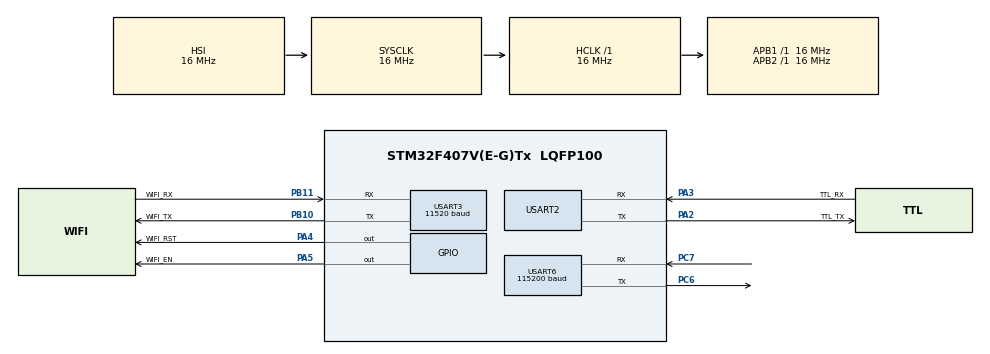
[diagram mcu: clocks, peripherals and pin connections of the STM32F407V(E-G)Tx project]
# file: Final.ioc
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Mcu.Family=STM32F4
Mcu.Name=STM32F407V(E-G)Tx
Mcu.Package=LQFP100
NVIC.PriorityGroup=NVIC_PRIORITYGROUP_4
NVIC.USART6_IRQn=true\:0\:0\:false\:false\:true\:true\:true\:true
PA2.GPIO_Label=TTL_TX
PA2.Mode=Asynchronous
PA2.Signal=USART2_TX
PA3.GPIO_Label=TTL_RX
PA3.Mode=Asynchronous
PA3.Signal=USART2_RX
PA4.GPIO_Label=WIFI_RST
PA4.Signal=GPIO_Output
PA5.GPIO_Label=WIFI_EN
PA5.Signal=GPIO_Output
PB10.GPIO_Label=WIFI_TX
PB10.Mode=Asynchronous
PB10.Signal=USART3_TX
PB11.GPIO_Label=WIFI_RX
PB11.Mode=Asynchronous
PB11.Signal=USART3_RX
PC6.Mode=Asynchronous
PC6.Signal=USART6_TX
PC7.Mode=Asynchronous
PC7.Signal=USART6_RX
ProjectManager.HeapSize=0x200
ProjectManager.StackSize=0x400
ProjectManager.TargetToolchain=STM32CubeIDE
RCC.AHBFreq_Value=16000000
RCC.APB1Freq_Value=16000000
RCC.APB2Freq_Value=16000000
RCC.CortexFreq_Value=16000000
RCC.HSE_VALUE=25000000
RCC.HSI_VALUE=16000000
RCC.LSE_VALUE=32768
RCC.SYSCLKFreq_VALUE=16000000
RCC.VCOOutputFreq_Value=192000000
USART2.VirtualMode=VM_ASYNC
USART3.BaudRate=11520
USART3.VirtualMode=VM_ASYNC
USART6.BaudRate=115200
USART6.VirtualMode=VM_ASYNC
board=custom

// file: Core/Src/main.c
/* USER CODE BEGIN Header */
/**
 ******************************************************************************
 * @file           : main.c
 * @brief          : Esp8266-01 Test-Function
 * Author          :
 * websites        :https://embeddedsystemshalilgk.wordpress.com
 * Youtube         :https://www.youtube.com/channel/UC8cJpAVnScqDzZ7IFs2tQMw
 ******************************************************************************
 * @attention
 *ESP_Init();this function should be called after testing. ESP_Init() can be called
 *this If hardware and software problems are not encountered.
 *test_AT();first, you must query with the test_AT command.
 *  USART2 -> PC
 *  USART3 ->ESP8266
 *We do the data retrieval part with interrupt.
 * Don't forget to activate the interrupt.
 ******************************************************************************
 */
/* USER CODE END Header */
#include "main.h"

/* USER CODE BEGIN Includes */
#include <string.h>
#include <stdio.h>
#include "FreeRTOS.h"
#include "task.h"
#include "myprintf.h"
/* USER CODE END Includes */

/* USER CODE BEGIN PTD */
typedef enum {
    STATE_RESET,
    STATE_INIT,
    STATE_JOIN_WIFI,
    STATE_CHECK_STATUS,
    STATE_GET_IP,
	STATE_CONNECT_TCP,
    STATE_DONE
} esp8266_state_t;

/* USER CODE END PTD */

/* USER CODE BEGIN PM */
#define resp_len 128
/* USER CODE END PM */

UART_HandleTypeDef huart2;
UART_HandleTypeDef huart3;
UART_HandleTypeDef huart6;

/* USER CODE BEGIN PV */
char resp[resp_len];
volatile int if_resp_callback;
volatile int if_resp_timeout;
volatile int resp_index;
/* USER CODE END PV */

void SystemClock_Config(void);
static void MX_GPIO_Init(void);
static void MX_USART2_UART_Init(void);
static void MX_USART3_UART_Init(void);
static void MX_USART6_UART_Init(void);

/* USER CODE BEGIN 0 */
void ESP8266_SendCommand(char *cmd)
{
	myprintf(&huart2, "Send command: %s\r\n", cmd);
    myprintf(&huart6, "%s\r\n", cmd);
}

void ESP8266_ReadResponse()
{
    memset(resp, '\0', resp_len);
    if_resp_callback = 0;
    if_resp_timeout = 0;
    resp_index = 0;

    HAL_UART_Receive_IT(&huart6, (uint8_t *)&resp[resp_index], 1);

    uint32_t start_time = HAL_GetTick();

    while (if_resp_callback == 0) {
        if (HAL_GetTick() - start_time > 2000) {
            if_resp_timeout = 1;
            break;
        }
    }
    vTaskDelay(500);
    myprintf(&huart2, "Received: %s\r\n", resp);
}

void HAL_UART_RxCpltCallback(UART_HandleTypeDef *huart)
{
	// Skip storing \r in first byte
	if (huart->Instance == USART6) {
		uint8_t byte = (uint8_t)huart->Instance->DR;  // or however you read the data

		// Skip first \r, \n
		if (resp_index == 0 && (byte == '\r' || byte == '\n')) {
			HAL_UART_Receive_IT(&huart6, (uint8_t *)&resp[resp_index], 1);
			return;
		}

		resp[resp_index] = byte;
		resp_index++;

		HAL_UART_Receive_IT(&huart6, (uint8_t *)&resp[resp_index], 1);

		if (resp[resp_index - 1] == '\n' || if_resp_timeout == 1) {
			resp[resp_index] = '\0';
			if_resp_callback = 1;
		}
	}
}
void showIP_task(void *pvParameters)
{
    esp8266_state_t state = STATE_RESET;
    int retry = 0;

    while (1) {
        switch (state) {
        case STATE_RESET:
            ESP8266_SendCommand("AT+RST");
            ESP8266_ReadResponse();
            if (strstr(resp, "OK")) {
                state = STATE_INIT;
                retry = 0;
            } else if (++retry > 3) {
                myprintf(&huart2, "Reset failed, retrying...\r\n");
                retry = 0;
            }
            break;

        case STATE_INIT:
            ESP8266_SendCommand("AT");  // Test AT startup
            ESP8266_ReadResponse();
            ESP8266_SendCommand("AT+CWMODE=1");  // Set station mode
            ESP8266_ReadResponse();
            state = STATE_JOIN_WIFI;
            break;

        case STATE_JOIN_WIFI:
            ESP8266_SendCommand("AT+CWJAP=\"ALGO\",\"algoalgo\"");
            ESP8266_ReadResponse();
            if (strstr(resp + 1, "WIFI CONNECTED") || strstr(resp + 1, "OK")) {
                state = STATE_CHECK_STATUS;
                retry = 0;
            } else if (++retry > 5) {
                myprintf(&huart2, "WiFi join failed, retrying...\r\n");
                state = STATE_RESET;
                retry = 0;
            }
            vTaskDelay(1500);
            break;

        case STATE_CHECK_STATUS:
            ESP8266_SendCommand("AT+CIPSTATUS");
            ESP8266_ReadResponse();
            if (strstr(resp + 1, "STATUS:2") || strstr(resp + 1, "STATUS:3") || strstr(resp + 1, "OK")) {
                state = STATE_GET_IP;
            }
            break;

        case STATE_GET_IP:
            ESP8266_SendCommand("AT+CIFSR");
            ESP8266_ReadResponse();
            state = STATE_CONNECT_TCP;
            break;
        case STATE_CONNECT_TCP:
        	ESP8266_SendCommand("AT+CIPMUX=0");
        	ESP8266_ReadResponse();
        	ESP8266_SendCommand("AT+CIPSTART=\"TCP\",\"192.168.0.154\",5000");
        	ESP8266_ReadResponse();
        	state = STATE_DONE;
        case STATE_DONE:
            ESP8266_ReadResponse();  // Check for any +IPD data
            char *data_start = strstr(resp, "+IPD,");
            if (data_start) {
                data_start = strchr(data_start, ':');
                if (data_start) {
                    data_start++;  // Skip the ':'
                    myprintf(&huart2, "Received from PC: %s\r\n", data_start);
                }
                state = STATE_DONE;
                break;
            }else if(strstr(resp, "LOSED")) { // Handle lost the connect to server
            	state = STATE_RESET;
            	break;
            }else{
            	myprintf(&huart2, "Unexpected response: %s\r\n", data_start);
				state = STATE_DONE;
				break;
            }
        default:
            state = STATE_RESET;
            break;
        }
    }
}

/* USER CODE END 0 */

int main(void)
{

  /* MCU Configuration--------------------------------------------------------*/

  /* Reset of all peripherals, Initializes the Flash interface and the Systick. */
  HAL_Init();

  /* Configure the system clock */
  SystemClock_Config();

  /* Initialize all configured peripherals */
  MX_GPIO_Init();
  MX_USART2_UART_Init();
  MX_USART3_UART_Init();
  MX_USART6_UART_Init();
  /* USER CODE BEGIN 2 */
  xTaskCreate(showIP_task, "ShowIP", 1024, NULL, 0, NULL);
  vTaskStartScheduler();

  /* USER CODE END 2 */

  /* Infinite loop */
  while (1)
  {

  }
}

void SystemClock_Config(void)
{
  RCC_OscInitTypeDef RCC_OscInitStruct = {0};
  RCC_ClkInitTypeDef RCC_ClkInitStruct = {0};

  /** Configure the main internal regulator output voltage
  */
  __HAL_RCC_PWR_CLK_ENABLE();
  __HAL_PWR_VOLTAGESCALING_CONFIG(PWR_REGULATOR_VOLTAGE_SCALE1);

  /** Initializes the RCC Oscillators according to the specified parameters
  * in the RCC_OscInitTypeDef structure.
  */
  RCC_OscInitStruct.OscillatorType = RCC_OSCILLATORTYPE_HSI;
  RCC_OscInitStruct.HSIState = RCC_HSI_ON;
  RCC_OscInitStruct.HSICalibrationValue = RCC_HSICALIBRATION_DEFAULT;
  RCC_OscInitStruct.PLL.PLLState = RCC_PLL_NONE;
  if (HAL_RCC_OscConfig(&RCC_OscInitStruct) != HAL_OK)
  {
    Error_Handler();
  }

  /** Initializes the CPU, AHB and APB buses clocks
  */
  RCC_ClkInitStruct.ClockType = RCC_CLOCKTYPE_HCLK|RCC_CLOCKTYPE_SYSCLK
                              |RCC_CLOCKTYPE_PCLK1|RCC_CLOCKTYPE_PCLK2;
  RCC_ClkInitStruct.SYSCLKSource = RCC_SYSCLKSOURCE_HSI;
  RCC_ClkInitStruct.AHBCLKDivider = RCC_SYSCLK_DIV1;
  RCC_ClkInitStruct.APB1CLKDivider = RCC_HCLK_DIV1;
  RCC_ClkInitStruct.APB2CLKDivider = RCC_HCLK_DIV1;

  if (HAL_RCC_ClockConfig(&RCC_ClkInitStruct, FLASH_LATENCY_0) != HAL_OK)
  {
    Error_Handler();
  }
}

static void MX_USART2_UART_Init(void)
{

  huart2.Instance = USART2;
  huart2.Init.BaudRate = 115200;
  huart2.Init.WordLength = UART_WORDLENGTH_8B;
  huart2.Init.StopBits = UART_STOPBITS_1;
  huart2.Init.Parity = UART_PARITY_NONE;
  huart2.Init.Mode = UART_MODE_TX_RX;
  huart2.Init.HwFlowCtl = UART_HWCONTROL_NONE;
  huart2.Init.OverSampling = UART_OVERSAMPLING_16;
  if (HAL_UART_Init(&huart2) != HAL_OK)
  {
    Error_Handler();
  }

}

static void MX_USART3_UART_Init(void)
{

  huart3.Instance = USART3;
  huart3.Init.BaudRate = 11520;
  huart3.Init.WordLength = UART_WORDLENGTH_8B;
  huart3.Init.StopBits = UART_STOPBITS_1;
  huart3.Init.Parity = UART_PARITY_NONE;
  huart3.Init.Mode = UART_MODE_TX_RX;
  huart3.Init.HwFlowCtl = UART_HWCONTROL_NONE;
  huart3.Init.OverSampling = UART_OVERSAMPLING_16;
  if (HAL_UART_Init(&huart3) != HAL_OK)
  {
    Error_Handler();
  }

}

static void MX_USART6_UART_Init(void)
{

  huart6.Instance = USART6;
  huart6.Init.BaudRate = 115200;
  huart6.Init.WordLength = UART_WORDLENGTH_8B;
  huart6.Init.StopBits = UART_STOPBITS_1;
  huart6.Init.Parity = UART_PARITY_NONE;
  huart6.Init.Mode = UART_MODE_TX_RX;
  huart6.Init.HwFlowCtl = UART_HWCONTROL_NONE;
  huart6.Init.OverSampling = UART_OVERSAMPLING_16;
  if (HAL_UART_Init(&huart6) != HAL_OK)
  {
    Error_Handler();
  }

}

static void MX_GPIO_Init(void)
{
  GPIO_InitTypeDef GPIO_InitStruct = {0};

  /* GPIO Ports Clock Enable */
  __HAL_RCC_GPIOA_CLK_ENABLE();
  __HAL_RCC_GPIOB_CLK_ENABLE();
  __HAL_RCC_GPIOC_CLK_ENABLE();

  /*Configure GPIO pin Output Level */
  HAL_GPIO_WritePin(GPIOA, WIFI_RST_Pin|WIFI_EN_Pin, GPIO_PIN_RESET);

  /*Configure GPIO pins : WIFI_RST_Pin WIFI_EN_Pin */
  GPIO_InitStruct.Pin = WIFI_RST_Pin|WIFI_EN_Pin;
  GPIO_InitStruct.Mode = GPIO_MODE_OUTPUT_PP;
  GPIO_InitStruct.Pull = GPIO_NOPULL;
  GPIO_InitStruct.Speed = GPIO_SPEED_FREQ_LOW;
  HAL_GPIO_Init(GPIOA, &GPIO_InitStruct);

}

void Error_Handler(void)
{
	__disable_irq();
	while (1) {
	}
}
